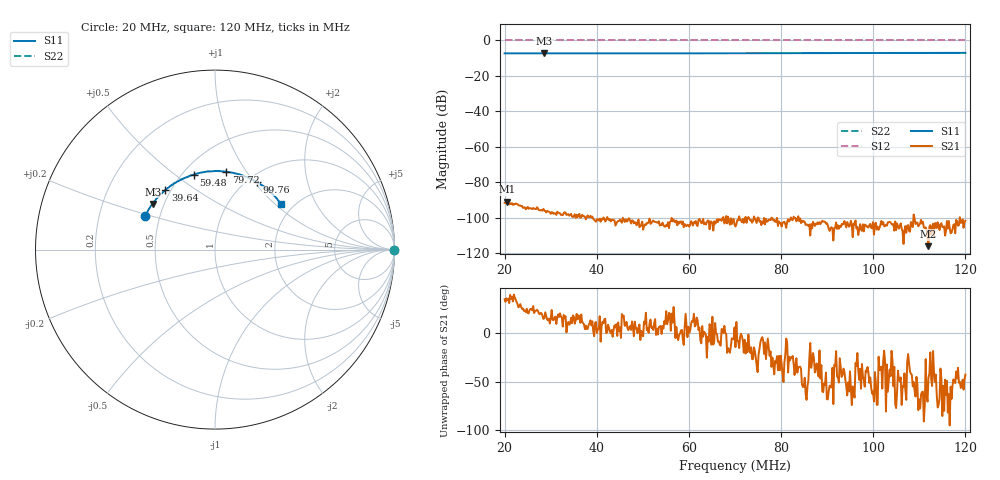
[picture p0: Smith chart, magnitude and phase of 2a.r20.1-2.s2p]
! Anritsu VNA Master:  Model: MS2036C/10/77
! SN:  1601066
! /bd0/18may26.balun/2a.r20.s2p
! Existing Calibration Information:
! TYPE:  Current Settings,  Active Cal Settings
! TIME:  05/26/2018 07:43:18 PM,  05/26/2018 07:26:54 PM
! INTERNAL TEMP:  45.0 C,  45.5 C
! # POINTS:  500,  500
! START FREQ:  20.000 MHz,  20.000 MHz
! STOP FREQ:  120.000 MHz,  120.000 MHz
! SOURCE POWER:  High,  High
! IFBW:  50 Hz,  50 Hz
! AVG FACTOR:  1 ,  1
! REF PLANE 1:  0 mm,  0 mm
! REF PLANE 2:  0 mm,  0 mm
! CAL TYPE:  Full S11,  Full S11
! CAL METHOD:  SOLT,  SOLT
! CAL LINE TYPE:  Coax,  Coax
! DUT PORT 1:  K-Conn(M),  K-Conn(M)
! DUT PORT 2:  K-Conn(M),  K-Conn(M)
! CAL STATUS:  OK: Accuracy High,  --
# GHZ S DB R 50.0
! FREQ.GHZ  S11DB  S11A  S21DB  S21A  S12DB  S12A  S22DB  S22A
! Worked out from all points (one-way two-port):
!   500 points, 20 MHz to 120 MHz, reference 50 ohm
!   highest |S21| = -90.94 dB at 20.6 MHz (marker M1); lowest = -115.9 dB at 112 MHz (marker M2)
!   lowest |S11| = -7.3 dB at 28.62 MHz (marker M3), VSWR 2.51, Z = 21.7 + j13.5 ohm
!   |S11| at or under -10 dB: nowhere
!   |S22| runs from 0.0 to 0.0 dB; largest |S21 - S12| = 1
!   S11 on the Smith chart (normalised r, x): 20 MHz: 0.41, +0.19; 39.64 MHz: 0.47, +0.38; 59.48 MHz: 0.57, +0.59; 79.72 MHz: 0.76, +0.81; 99.76 MHz: 1.11, +1.03; 120 MHz: 1.73, +1.09
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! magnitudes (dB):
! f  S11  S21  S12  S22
! 20 MHz  -7.3  -91.5  0.0  0.0
! 20.6 MHz  -7.3  -90.9  0.0  0.0
! 28.62 MHz  -7.3  -95.9  0.0  0.0
! 32.63 MHz  -7.3  -98.5  0.0  0.0
! 36.83 MHz  -7.3  -98.3  0.0  0.0
! 38.24 MHz  -7.3  -99.6  0.0  0.0
! 39.64 MHz  -7.3  -101.6  0.0  0.0
! 41.04 MHz  -7.3  -100.6  0.0  0.0
! 42.44 MHz  -7.3  -100.4  0.0  0.0
! 46.45 MHz  -7.2  -102.0  0.0  0.0
! 47.86 MHz  -7.3  -101.6  0.0  0.0
! 51.66 MHz  -7.2  -103.4  0.0  0.0
! 53.47 MHz  -7.3  -101.9  0.0  0.0
! 59.48 MHz  -7.2  -104.6  0.0  0.0
! 62.89 MHz  -7.2  -102.8  0.0  0.0
! 70.1 MHz  -7.2  -104.9  0.0  0.0
! 79.72 MHz  -7.2  -103.0  0.0  0.0
! 86.73 MHz  -7.1  -105.9  0.0  0.0
! 99.76 MHz  -7.1  -105.9  0.0  0.0
! 103.4 MHz  -7.1  -102.5  0.0  0.0
! 112 MHz  -7.0  -115.9  0.0  0.0
! 120 MHz  -7.0  -101.6  0.0  0.0
